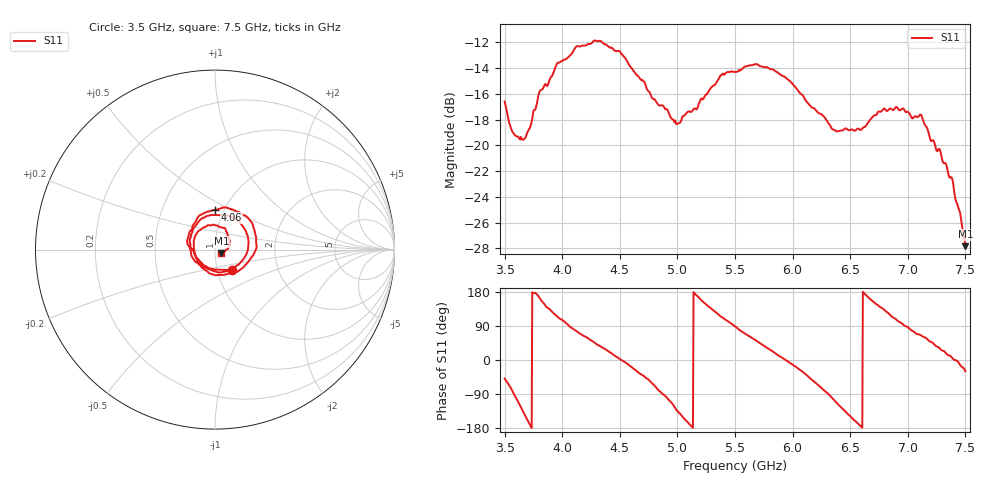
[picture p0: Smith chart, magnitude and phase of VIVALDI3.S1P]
!Agilent Technologies,E5071B,MY42403545,A.09.10
!Date: Thu Jul 11 04:56:36 2019
!Data & Calibration Information:
!Freq	S11:SOLT1(ON)
# Hz S dB R 50
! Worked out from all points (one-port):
!   801 points, 3.5 GHz to 7.5 GHz, reference 50 ohm
!   lowest |S11| = -27.8 dB at 7.5 GHz (marker M1), VSWR 1.08, Z = 53.6 - j2.17 ohm
!   |S11| at or under -10 dB: start of sweep to end of sweep
!   S11 on the Smith chart (normalised r, x): 3.5 GHz: 1.18, -0.27; 4.06 GHz: 0.91, +0.42; 7.5 GHz: 1.07, -0.04
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3.5e9  -16.60 -49.0
3.575e9  -19.04 -86.6
3.67e9  -19.51 -141.5
3.81e9  -15.73 160.6
4e9  -13.46 105.5
4.06e9  -13.07 89.9
4.265e9  -11.99 49.0
4.5e9  -12.71 2.4
4.66e9  -14.63 -32.7
4.78e9  -16.32 -61.3
4.895e9  -17.20 -95.1
5e9  -18.33 -134.9
5.22e9  -16.43 154.3
5.38e9  -14.53 114.1
5.5e9  -14.30 88.9
5.64e9  -13.78 59.4
5.775e9  -13.92 32.7
6e9  -15.25 -12.2
6.26e9  -17.66 -76.5
6.365e9  -18.81 -107.6
6.5e9  -18.80 -147.9
6.61e9  -18.64 180.0
6.73e9  -17.61 147.2
7e9  -17.40 86.7
7.115e9  -17.63 65.0
7.285e9  -20.53 28.0
7.385e9  -22.59 5.7
7.5e9  -27.83 -29.9
